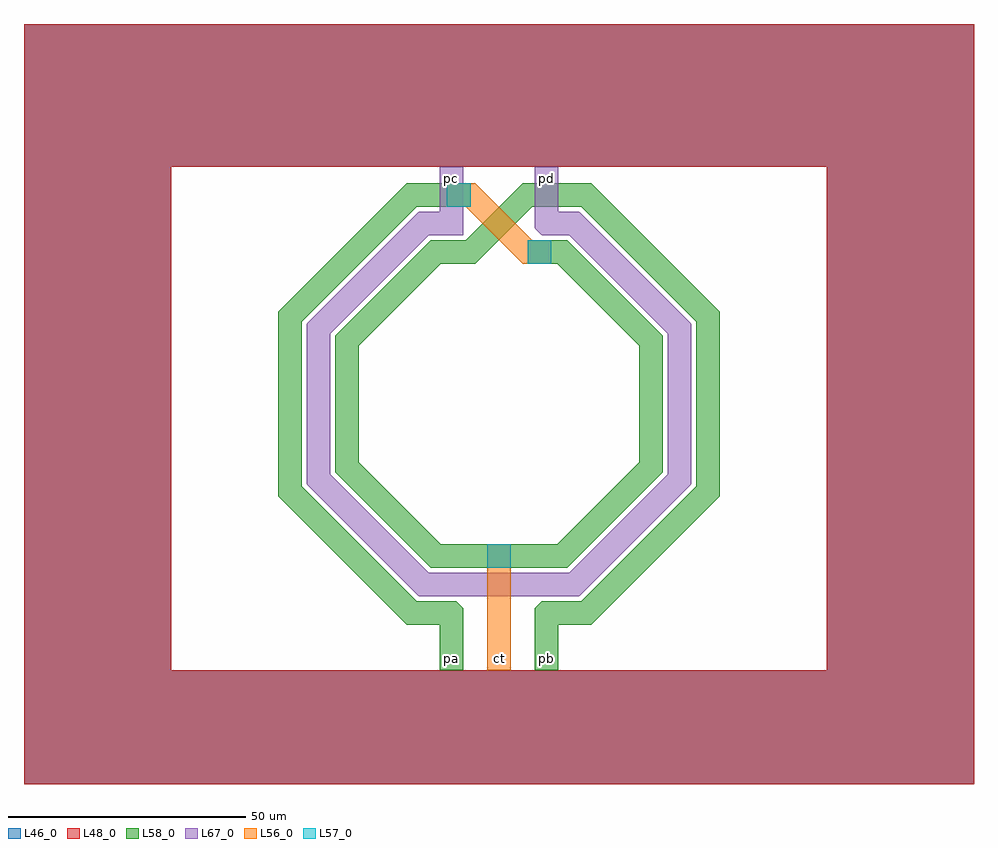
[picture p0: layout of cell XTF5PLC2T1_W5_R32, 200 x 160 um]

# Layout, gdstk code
import gdstk
lib = gdstk.Library(unit=1e-6, precision=1e-09)
def R(c, l, rs):  # rectangles x0, y0, x1, y1
    for r in rs: c.add(gdstk.rectangle(r[:2], r[2:], *l))
def P(c, l, *ps):  # polygons
    for p in ps: c.add(gdstk.Polygon(p, *l))
L46_0 = (46, 0)
L48_0 = (48, 0)
L56_0 = (56, 0)
L57_0 = (57, 0)
L58_0 = (58, 0)
L67_0 = (67, 0)

xtf5plc2t1_w5_r32 = lib.new_cell('XTF5PLC2T1_W5_R32')
P(xtf5plc2t1_w5_r32, L46_0, [(100,-80),(-100,-80),(-100,80),(69,80),(69,50),(-69,50),(-69,-56),(69,-56),(69,80),(100,80)])
P(xtf5plc2t1_w5_r32, L48_0, [(100,-80),(-100,-80),(-100,80),(69,80),(69,50),(-69,50),(-69,-56),(69,-56),(69,80),(100,80)])
R(xtf5plc2t1_w5_r32, L56_0, [(-2.5,-56,2.5,-29.5), (-2.5,-56,2.5,-51)])
P(xtf5plc2t1_w5_r32, L56_0, [(11,29.5),(4.965,29.5),(-7.035,41.5),(-11,41.5),(-11,46.5),(-4.965,46.5),(7.035,34.5),(11,34.5)])
R(xtf5plc2t1_w5_r32, L57_0, [(-2.5,-34.5,2.5,-29.5), (6,29.5,11,34.5), (-11,41.5,-6,46.5)])
R(xtf5plc2t1_w5_r32, L58_0, [(-12.5,-56,-7.5,-51), (7.5,-56,12.5,-51)])
P(xtf5plc2t1_w5_r32, L58_0, [(-6,41.5),(-17.305,41.5),(-41.5,17.305),(-41.5,-17.305),(-17.305,-41.5),(-8.965,-41.5),(-7.5,-42.965),(-7.5,-56),(-12.5,-56),(-12.5,-46.5),(-19.375,-46.5),(-46.5,-19.375),(-46.5,19.375),(-19.375,46.5),(-6,46.5)],
  [(46.5,-19.375),(19.375,-46.5),(12.5,-46.5),(12.5,-56),(7.5,-56),(7.5,-42.965),(8.965,-41.5),(17.305,-41.5),(41.5,-17.305),(41.5,17.305),(17.305,41.5),(7.035,41.5),(-4.965,29.5),(-12.305,29.5),(-29.5,12.305),(-29.5,-12.305),(-12.305,-29.5),(12.305,-29.5),(29.5,-12.305),(29.5,12.305),(12.305,29.5),(6,29.5),(6,34.5),(14.375,34.5),(34.5,14.375),(34.5,-14.375),(14.375,-34.5),(-14.375,-34.5),(-34.5,-14.375),(-34.5,14.375),(-14.375,34.5),(-7.035,34.5),(4.965,46.5),(19.375,46.5),(46.5,19.375)])
R(xtf5plc2t1_w5_r32, L67_0, [(-12.5,45,-7.5,50), (7.5,45,12.5,50)])
P(xtf5plc2t1_w5_r32, L67_0, [(40.5,-16.875),(16.875,-40.5),(-16.875,-40.5),(-40.5,-16.875),(-40.5,16.875),(-16.875,40.5),(-12.5,40.5),(-12.5,50),(-7.5,50),(-7.5,35.5),(-14.805,35.5),(-35.5,14.805),(-35.5,-14.805),(-14.805,-35.5),(14.805,-35.5),(35.5,-14.805),(35.5,14.805),(14.805,35.5),(8.965,35.5),(7.5,36.965),(7.5,50),(12.5,50),(12.5,40.5),(16.875,40.5),(40.5,16.875)])
xtf5plc2t1_w5_r32.add(gdstk.Label('pb', (10,-53.5), layer=58, texttype=0))
xtf5plc2t1_w5_r32.add(gdstk.Label('pa', (-10,-53.5), layer=58, texttype=0))
xtf5plc2t1_w5_r32.add(gdstk.Label('pd', (10,47.5), layer=67, texttype=0))
xtf5plc2t1_w5_r32.add(gdstk.Label('pc', (-10,47.5), layer=67, texttype=0))
xtf5plc2t1_w5_r32.add(gdstk.Label('ct', (0,-53.5), layer=56, texttype=0))

lib.write_gds('XTF5PLC2T1_W5_R32.gds')
